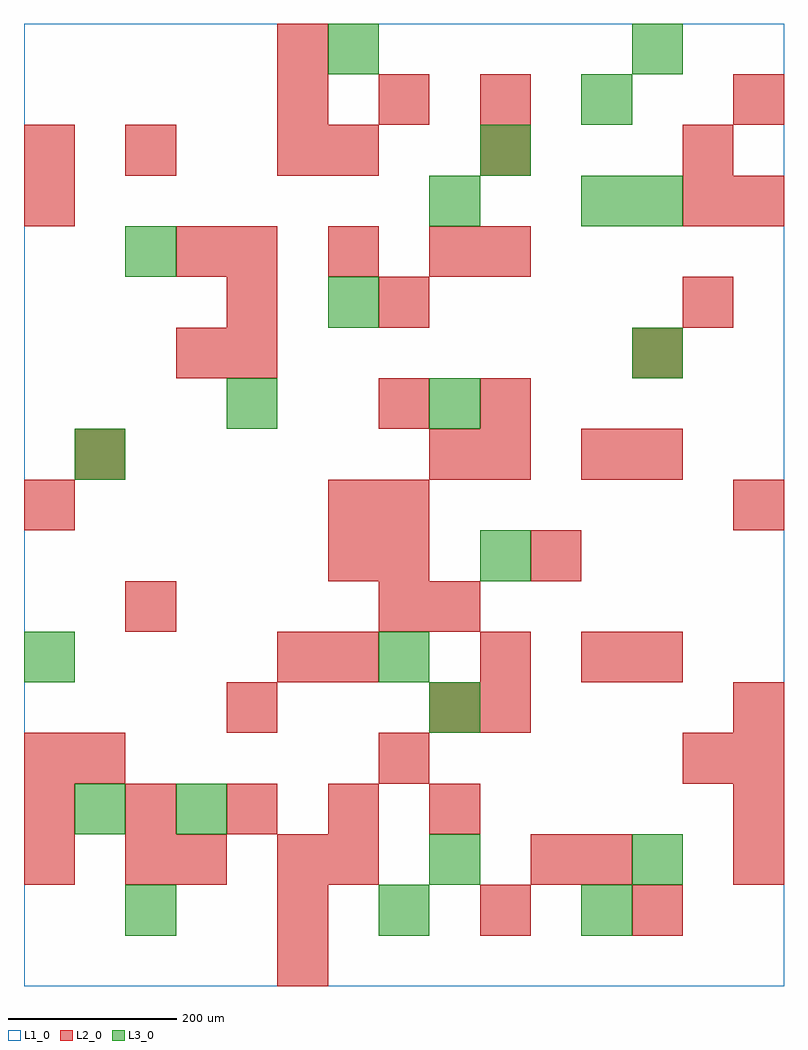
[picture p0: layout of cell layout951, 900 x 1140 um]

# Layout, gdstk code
import gdstk
lib = gdstk.Library(unit=1e-6, precision=1e-09)
def R(c, l, rs):  # rectangles x0, y0, x1, y1
    for r in rs: c.add(gdstk.rectangle(r[:2], r[2:], *l))
def A(c, l, x, y, w, h, nx, ny, dx, dy):  # array of equal rectangles
    R(c, l, [(x+i*dx, y+j*dy, x+i*dx+w, y+j*dy+h) for i in range(nx) for j in range(ny)])
L1_0 = (1, 0)
L2_0 = (2, 0)
L3_0 = (3, 0)

layout951 = lib.new_cell('layout951')
R(layout951, L1_0, [(0,0,900,1140)])
A(layout951, L2_0, 300, 0, 60, 60, 1, 3, 0, 60)
A(layout951, L2_0, 660, 120, 60, 60, 1, 3, 0, 240)
A(layout951, L2_0, 840, 120, 60, 60, 1, 4, 0, 60)
A(layout951, L2_0, 0, 180, 60, 60, 5, 1, 120, 0)
A(layout951, L2_0, 60, 240, 60, 60, 3, 1, 360, 0)
A(layout951, L2_0, 420, 420, 60, 60, 1, 3, 0, 60)
A(layout951, L2_0, 240, 840, 60, 60, 3, 1, 120, 0)
A(layout951, L2_0, 300, 1020, 60, 60, 3, 1, 120, 0)
R(layout951, L2_0, [(540,60,600,120), (720,60,780,120), (0,120,60,180), (120,120,180,180), (180,120,240,180), (360,120,420,180), (600,120,660,180), (0,240,60,300), (240,300,300,360), (480,300,540,360), (540,300,600,360), (300,360,360,420), (360,360,420,420), (540,360,600,420), (720,360,780,420), (120,420,180,480), (480,420,540,480), (360,480,420,540), (600,480,660,540), (0,540,60,600), (360,540,420,600), (840,540,900,600), (60,600,120,660), (480,600,540,660), (540,600,600,660), (720,600,780,660), (420,660,480,720), (540,660,600,720), (180,720,240,780), (240,720,300,780), (720,720,780,780), (240,780,300,840), (420,780,480,840), (780,780,840,840), (180,840,240,900), (540,840,600,900), (0,900,60,960), (780,900,840,960), (840,900,900,960), (0,960,60,1020), (120,960,180,1020), (300,960,360,1020), (360,960,420,1020), (540,960,600,1020), (780,960,840,1020), (840,1020,900,1080), (300,1080,360,1140)])
A(layout951, L3_0, 720, 720, 60, 60, 1, 3, 0, 180)
R(layout951, L3_0, [(120,60,180,120), (420,60,480,120), (660,60,720,120), (480,120,540,180), (720,120,780,180), (60,180,120,240), (180,180,240,240), (480,300,540,360), (0,360,60,420), (420,360,480,420), (540,480,600,540), (60,600,120,660), (240,660,300,720), (480,660,540,720), (360,780,420,840), (120,840,180,900), (480,900,540,960), (660,900,720,960), (540,960,600,1020), (660,1020,720,1080), (360,1080,420,1140)])

lib.write_gds('layout951.gds')
